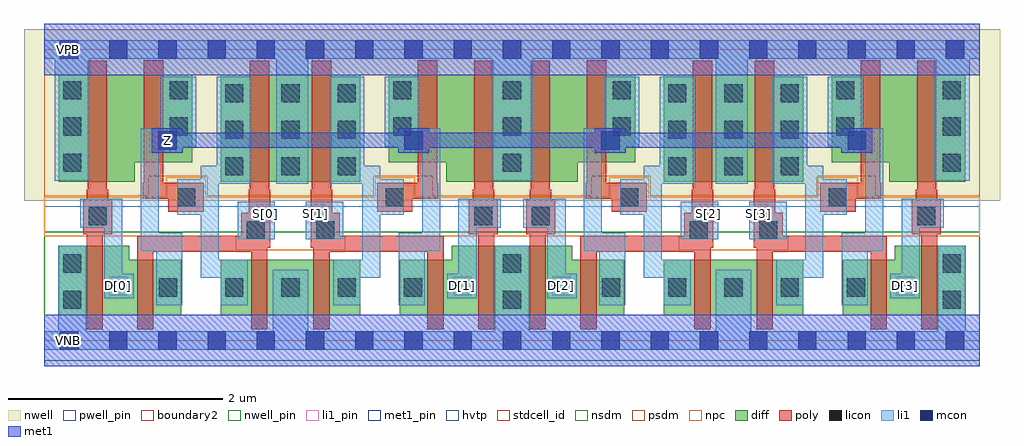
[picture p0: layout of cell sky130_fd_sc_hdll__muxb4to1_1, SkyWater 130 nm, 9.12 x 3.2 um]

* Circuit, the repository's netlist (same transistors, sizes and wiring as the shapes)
* Copyright 2020 The SkyWater PDK Authors
*
* Licensed under the Apache License, Version 2.0 (the "License");
* you may not use this file except in compliance with the License.
* You may obtain a copy of the License at
*
*     https://www.apache.org/licenses/LICENSE-2.0
*
* Unless required by applicable law or agreed to in writing, software
* distributed under the License is distributed on an "AS IS" BASIS,
* WITHOUT WARRANTIES OR CONDITIONS OF ANY KIND, either express or implied.
* See the License for the specific language governing permissions and
* limitations under the License.
*
* SPDX-License-Identifier: Apache-2.0

.SUBCKT sky130_fd_sc_hdll__muxb4to1_1 D[3] D[2] D[1] D[0] S[3] S[2] S[1] S[0] VGND VNB VPB VPWR Z
*.PININFO D[3]:I D[2]:I D[1]:I D[0]:I S[3]:I S[2]:I S[1]:I S[0]:I
*.PININFO VGND:I VNB:I VPB:I VPWR:I Z:O
MMNA00 Z S[0] net87 VNB sky130_fd_pr__nfet_01v8 m=1 w=0.52U l=0.15U mult=1 sa=0.265
+ sb=0.265 sd=0.28 area=0.063 perim=1.14
MMNA01 net87 D[0] VGND VNB sky130_fd_pr__nfet_01v8 m=1 w=0.65U l=0.15U mult=1 sa=0.265
+ sb=0.265 sd=0.28 area=0.063 perim=1.14
MMIN1 SB0 S[0] VGND VNB sky130_fd_pr__nfet_01v8 m=1 w=0.52U l=0.15U mult=1 sa=0.265
+ sb=0.265 sd=0.28 area=0.063 perim=1.14
MI30 Z S[2] net51 VNB sky130_fd_pr__nfet_01v8 m=1 w=0.52U l=0.15U mult=1 sa=0.265
+ sb=0.265 sd=0.28 area=0.063 perim=1.14
MI29 net51 D[2] VGND VNB sky130_fd_pr__nfet_01v8 m=1 w=0.65U l=0.15U mult=1 sa=0.265
+ sb=0.265 sd=0.28 area=0.063 perim=1.14
MI28 SB2 S[2] VGND VNB sky130_fd_pr__nfet_01v8 m=1 w=0.52U l=0.15U mult=1 sa=0.265
+ sb=0.265 sd=0.28 area=0.063 perim=1.14
MI27 SB3 S[3] VGND VNB sky130_fd_pr__nfet_01v8 m=1 w=0.52U l=0.15U mult=1 sa=0.265
+ sb=0.265 sd=0.28 area=0.063 perim=1.14
MI26 net63 D[3] VGND VNB sky130_fd_pr__nfet_01v8 m=1 w=0.65U l=0.15U mult=1 sa=0.265
+ sb=0.265 sd=0.28 area=0.063 perim=1.14
MI25 Z S[3] net63 VNB sky130_fd_pr__nfet_01v8 m=1 w=0.52U l=0.15U mult=1 sa=0.265
+ sb=0.265 sd=0.28 area=0.063 perim=1.14
MI13 Z S[1] net75 VNB sky130_fd_pr__nfet_01v8 m=1 w=0.52U l=0.15U mult=1 sa=0.265
+ sb=0.265 sd=0.28 area=0.063 perim=1.14
MI12 net75 D[1] VGND VNB sky130_fd_pr__nfet_01v8 m=1 w=0.65U l=0.15U mult=1 sa=0.265
+ sb=0.265 sd=0.28 area=0.063 perim=1.14
MI11 SB1 S[1] VGND VNB sky130_fd_pr__nfet_01v8 m=1 w=0.52U l=0.15U mult=1 sa=0.265
+ sb=0.265 sd=0.28 area=0.063 perim=1.14
MI35 net99 SB2 Z VPB sky130_fd_pr__pfet_01v8_hvt m=1 w=0.82U l=0.18U mult=1 sa=0.265
+ sb=0.265 sd=0.28 area=0.063 perim=1.14
MI34 SB2 S[2] VPWR VPB sky130_fd_pr__pfet_01v8_hvt m=1 w=1.0U l=0.18U mult=1 sa=0.265
+ sb=0.265 sd=0.28 area=0.063 perim=1.14
MMPA00 VPWR D[0] net135 VPB sky130_fd_pr__pfet_01v8_hvt m=1 w=1.0U l=0.18U mult=1
+ sa=0.265 sb=0.265 sd=0.28 area=0.063 perim=1.14
MMPA01 net135 SB0 Z VPB sky130_fd_pr__pfet_01v8_hvt m=1 w=0.82U l=0.18U mult=1
+ sa=0.265 sb=0.265 sd=0.28 area=0.063 perim=1.14
MI33 SB3 S[3] VPWR VPB sky130_fd_pr__pfet_01v8_hvt m=1 w=1.0U l=0.18U mult=1 sa=0.265
+ sb=0.265 sd=0.28 area=0.063 perim=1.14
MI32 net111 SB3 Z VPB sky130_fd_pr__pfet_01v8_hvt m=1 w=0.82U l=0.18U mult=1 sa=0.265
+ sb=0.265 sd=0.28 area=0.063 perim=1.14
MI31 VPWR D[3] net111 VPB sky130_fd_pr__pfet_01v8_hvt m=1 w=1.0U l=0.18U mult=1
+ sa=0.265 sb=0.265 sd=0.28 area=0.063 perim=1.14
MMIP1 SB0 S[0] VPWR VPB sky130_fd_pr__pfet_01v8_hvt m=1 w=1.0U l=0.18U mult=1 sa=0.265
+ sb=0.265 sd=0.28 area=0.063 perim=1.14
MI15 net123 SB1 Z VPB sky130_fd_pr__pfet_01v8_hvt m=1 w=0.82U l=0.18U mult=1 sa=0.265
+ sb=0.265 sd=0.28 area=0.063 perim=1.14
MI16 VPWR D[1] net123 VPB sky130_fd_pr__pfet_01v8_hvt m=1 w=1.0U l=0.18U mult=1
+ sa=0.265 sb=0.265 sd=0.28 area=0.063 perim=1.14
MI14 SB1 S[1] VPWR VPB sky130_fd_pr__pfet_01v8_hvt m=1 w=1.0U l=0.18U mult=1 sa=0.265
+ sb=0.265 sd=0.28 area=0.063 perim=1.14
MI36 VPWR D[2] net99 VPB sky130_fd_pr__pfet_01v8_hvt m=1 w=1.0U l=0.18U mult=1
+ sa=0.265 sb=0.265 sd=0.28 area=0.063 perim=1.14
.ENDS sky130_fd_sc_hdll__muxb4to1_1

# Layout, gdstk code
import gdstk
lib = gdstk.Library(unit=1e-6, precision=1e-09)
def R(c, l, rs):  # rectangles x0, y0, x1, y1
    for r in rs: c.add(gdstk.rectangle(r[:2], r[2:], *l))
def A(c, l, x, y, w, h, nx, ny, dx, dy):  # array of equal rectangles
    R(c, l, [(x+i*dx, y+j*dy, x+i*dx+w, y+j*dy+h) for i in range(nx) for j in range(ny)])
def P(c, l, *ps):  # polygons
    for p in ps: c.add(gdstk.Polygon(p, *l))
nwell_pin = (64, 16)
nwell = (64, 20)
diff = (65, 20)
poly = (66, 20)
licon = (66, 44)
li1_pin = (67, 16)
li1 = (67, 20)
mcon = (67, 44)
met1_pin = (68, 16)
met1 = (68, 20)
hvtp = (78, 44)
stdcell_id = (81, 4)
nsdm = (93, 44)
psdm = (94, 20)
npc = (95, 20)
pwell_pin = (122, 16)
boundary2 = (236, 0)

sky130_fd_sc_hdll__muxb4 = lib.new_cell('sky130_fd_sc_hdll__muxb4to1_1')
R(sky130_fd_sc_hdll__muxb4, nwell_pin, [(0.145,2.635,0.315,2.805)])
R(sky130_fd_sc_hdll__muxb4, nwell, [(-0.19,1.305,4.79,2.91), (3.95,1.305,8.93,2.91)])
R(sky130_fd_sc_hdll__muxb4, diff, [(1.65,0.235,2.425,0.755), (2.175,0.235,2.95,0.755), (5.79,0.235,6.565,0.755), (6.315,0.235,7.09,0.755), (1.65,1.485,2.425,2.485), (2.175,1.485,2.95,2.485), (5.79,1.485,6.565,2.485), (6.315,1.485,7.09,2.485)])
P(sky130_fd_sc_hdll__muxb4, diff, [(1.28,0.755),(0.795,0.755),(0.795,0.885),(0.135,0.885),(0.135,0.235),(1.28,0.235)],
  [(1.38,2.485),(0.135,2.485),(0.135,1.485),(0.845,1.485),(0.845,1.665),(1.38,1.665)],
  [(5.42,0.755),(4.935,0.755),(4.935,0.885),(4.275,0.885),(4.275,0.235),(5.42,0.235)],
  [(7.46,0.755),(7.945,0.755),(7.945,0.885),(8.605,0.885),(8.605,0.235),(7.46,0.235)],
  [(5.52,2.485),(4.275,2.485),(4.275,1.485),(4.985,1.485),(4.985,1.665),(5.52,1.665)],
  [(3.22,2.485),(4.465,2.485),(4.465,1.485),(3.755,1.485),(3.755,1.665),(3.22,1.665)],
  [(3.32,0.755),(3.805,0.755),(3.805,0.885),(4.465,0.885),(4.465,0.235),(3.32,0.235)],
  [(7.36,2.485),(8.605,2.485),(8.605,1.485),(7.895,1.485),(7.895,1.665),(7.36,1.665)])
R(sky130_fd_sc_hdll__muxb4, poly, [(0.395,0.105,0.545,0.995), (0.87,0.105,1.02,0.98), (1.935,0.105,2.085,0.995), (2.515,0.105,2.665,0.995), (3.58,0.105,3.73,0.98), (4.055,0.105,4.205,0.995), (4.535,0.105,4.685,0.995), (5.01,0.105,5.16,0.98), (6.075,0.105,6.225,0.995), (6.655,0.105,6.805,0.995), (7.72,0.105,7.87,0.98), (8.195,0.105,8.345,0.995), (0.87,0.83,2.085,0.98), (2.515,0.83,3.73,0.98), (5.01,0.83,6.225,0.98), (6.655,0.83,7.87,0.98), (1.84,0.865,2.11,1.195), (2.49,0.865,2.76,1.195), (5.98,0.865,6.25,1.195), (6.63,0.865,6.9,1.195), (0.365,0.995,0.635,1.325), (3.965,0.995,4.235,1.325), (4.505,0.995,4.775,1.325), (8.105,0.995,8.375,1.325), (1.16,1.205,1.49,1.475), (3.11,1.205,3.44,1.475), (5.3,1.205,5.63,1.475), (7.25,1.205,7.58,1.475), (0.92,1.325,1.305,1.475), (3.295,1.325,3.68,1.475), (5.06,1.325,5.445,1.475), (7.435,1.325,7.82,1.475)])
P(sky130_fd_sc_hdll__muxb4, poly, [(6.25,1.41),(6.24,1.41),(6.24,2.615),(6.06,2.615),(6.06,1.41),(6.05,1.41),(6.05,1.195),(6.25,1.195)],
  [(4.005,1.41),(4.015,1.41),(4.015,2.615),(4.195,2.615),(4.195,1.41),(4.205,1.41),(4.205,1.325),(4.005,1.325)],
  [(2.11,1.41),(2.1,1.41),(2.1,2.615),(1.92,2.615),(1.92,1.41),(1.91,1.41),(1.91,1.195),(2.11,1.195)],
  [(1.12,1.475),(1.11,1.475),(1.11,2.62),(0.93,2.62),(0.93,1.475),(0.92,1.475),(0.92,1.39),(1.12,1.39)],
  [(0.595,1.41),(0.585,1.41),(0.585,2.615),(0.405,2.615),(0.405,1.41),(0.395,1.41),(0.395,1.325),(0.595,1.325)],
  [(2.49,1.41),(2.5,1.41),(2.5,2.615),(2.68,2.615),(2.68,1.41),(2.69,1.41),(2.69,1.195),(2.49,1.195)],
  [(3.48,1.475),(3.49,1.475),(3.49,2.62),(3.67,2.62),(3.67,1.475),(3.68,1.475),(3.68,1.39),(3.48,1.39)],
  [(4.735,1.41),(4.725,1.41),(4.725,2.615),(4.545,2.615),(4.545,1.41),(4.535,1.41),(4.535,1.325),(4.735,1.325)],
  [(5.26,1.475),(5.25,1.475),(5.25,2.62),(5.07,2.62),(5.07,1.475),(5.06,1.475),(5.06,1.39),(5.26,1.39)],
  [(7.62,1.475),(7.63,1.475),(7.63,2.62),(7.81,2.62),(7.81,1.475),(7.82,1.475),(7.82,1.39),(7.62,1.39)],
  [(8.145,1.41),(8.155,1.41),(8.155,2.615),(8.335,2.615),(8.335,1.41),(8.345,1.41),(8.345,1.325),(8.145,1.325)],
  [(6.63,1.41),(6.64,1.41),(6.64,2.615),(6.82,2.615),(6.82,1.41),(6.83,1.41),(6.83,1.195),(6.63,1.195)])
A(sky130_fd_sc_hdll__muxb4, licon, 0.175, 0.295, 0.17, 0.17, 3, 2, 4.11, 0.34)
A(sky130_fd_sc_hdll__muxb4, licon, 1.69, 0.41, 0.17, 0.17, 3, 2, 0.525, 1.135)
A(sky130_fd_sc_hdll__muxb4, licon, 5.83, 0.41, 0.17, 0.17, 3, 2, 0.525, 1.135)
A(sky130_fd_sc_hdll__muxb4, licon, 0.175, 1.575, 0.17, 0.17, 3, 1, 4.11, 0)
A(sky130_fd_sc_hdll__muxb4, licon, 1.69, 1.885, 0.17, 0.17, 3, 2, 0.525, 0.34)
A(sky130_fd_sc_hdll__muxb4, licon, 5.83, 1.885, 0.17, 0.17, 3, 2, 0.525, 0.34)
A(sky130_fd_sc_hdll__muxb4, licon, 3.26, 1.915, 0.17, 0.17, 3, 2, 1.025, 0.34)
R(sky130_fd_sc_hdll__muxb4, licon, [(1.07,0.41,1.24,0.58), (3.36,0.41,3.53,0.58), (5.21,0.41,5.38,0.58), (7.5,0.41,7.67,0.58), (1.89,0.945,2.06,1.115), (2.54,0.945,2.71,1.115), (6.03,0.945,6.2,1.115), (6.68,0.945,6.85,1.115), (0.415,1.075,0.585,1.245), (4.015,1.075,4.185,1.245), (4.555,1.075,4.725,1.245), (8.155,1.075,8.325,1.245), (1.24,1.255,1.41,1.425), (3.19,1.255,3.36,1.425), (5.38,1.255,5.55,1.425), (7.33,1.255,7.5,1.425), (0.175,1.915,0.345,2.085), (1.17,1.915,1.34,2.085), (7.4,1.915,7.57,2.085), (8.395,1.915,8.565,2.085), (0.175,2.255,0.345,2.425), (1.17,2.255,1.34,2.425), (7.4,2.255,7.57,2.425), (8.395,2.255,8.565,2.425)])
R(sky130_fd_sc_hdll__muxb4, li1_pin, [(0.605,0.425,0.775,0.595), (3.825,0.425,3.995,0.595), (4.745,0.425,4.915,0.595), (7.965,0.425,8.135,0.595), (1.985,1.105,2.155,1.275), (2.445,1.105,2.615,1.275), (6.125,1.105,6.295,1.275), (6.585,1.105,6.755,1.275)])
R(sky130_fd_sc_hdll__muxb4, li1, [(0,-0.085,4.6,0.085), (4.14,-0.085,8.74,0.085), (0.13,0.085,0.39,0.885), (2.135,0.085,2.465,0.66), (4.21,0.085,4.47,0.885), (4.27,0.085,4.53,0.885), (6.275,0.085,6.605,0.66), (8.35,0.085,8.61,0.885), (1.045,0.33,1.29,0.865), (1.65,0.33,1.9,0.755), (2.7,0.33,2.95,0.755), (3.31,0.33,3.555,0.865), (5.185,0.33,5.43,0.865), (5.79,0.33,6.04,0.755), (6.84,0.33,7.09,0.755), (7.45,0.33,7.695,0.865), (0.9,0.835,1.29,1.005), (0.9,0.835,1.07,1.805), (3.31,0.835,3.7,1.005), (3.53,0.835,3.7,1.805), (5.04,0.835,5.43,1.005), (5.04,0.835,5.21,1.805), (7.45,0.835,7.84,1.005), (7.67,0.835,7.84,1.805), (1.805,0.945,2.155,1.295), (2.445,0.945,2.795,1.295), (5.945,0.945,6.295,1.295), (6.585,0.945,6.935,1.295), (0.335,1.055,0.73,1.325), (3.87,1.055,4.265,1.325), (4.475,1.055,4.87,1.325), (8.01,1.055,8.405,1.325), (1.24,1.175,1.46,1.505), (3.14,1.175,3.36,1.505), (5.38,1.175,5.6,1.505), (7.28,1.175,7.5,1.505), (1.61,1.465,1.94,2.465), (2.165,1.465,2.465,2.635), (2.66,1.465,2.99,2.465), (5.75,1.465,6.08,2.465), (6.275,1.465,6.575,2.635), (6.8,1.465,7.13,2.465), (0.095,1.495,0.425,2.635), (4.175,1.495,4.505,2.635), (4.235,1.495,4.565,2.635), (8.315,1.495,8.645,2.635), (1.09,1.805,1.42,2.465), (3.18,1.805,3.51,2.465), (3.205,1.805,3.7,1.975), (5.04,1.805,5.535,1.975), (5.23,1.805,5.56,2.465), (7.32,1.805,7.65,2.465), (7.345,1.805,7.84,1.975), (0,2.635,4.6,2.805), (4.14,2.635,8.74,2.805)])
P(sky130_fd_sc_hdll__muxb4, li1, [(3.765,0.625),(3.87,0.625),(3.87,1.325),(4.04,1.325),(4.04,0.395),(3.765,0.395)],
  [(2.7,0.755),(2.97,0.755),(2.97,1.465),(2.66,1.465),(2.66,1.635),(3.14,1.635),(3.14,0.585),(2.7,0.585)],
  [(1.9,0.755),(1.63,0.755),(1.63,1.465),(1.94,1.465),(1.94,1.635),(1.46,1.635),(1.46,0.585),(1.9,0.585)],
  [(1.42,1.985),(0.9,1.985),(0.9,1.755),(1.295,1.755),(1.295,1.805),(1.42,1.805)],
  [(0.835,0.625),(0.73,0.625),(0.73,1.325),(0.56,1.325),(0.56,0.395),(0.835,0.395)],
  [(6.04,0.755),(5.77,0.755),(5.77,1.465),(6.08,1.465),(6.08,1.635),(5.6,1.635),(5.6,0.585),(6.04,0.585)],
  [(4.975,0.625),(4.87,0.625),(4.87,1.325),(4.7,1.325),(4.7,0.395),(4.975,0.395)],
  [(7.905,0.625),(8.01,0.625),(8.01,1.325),(8.18,1.325),(8.18,0.395),(7.905,0.395)],
  [(6.84,0.755),(7.11,0.755),(7.11,1.465),(6.8,1.465),(6.8,1.635),(7.28,1.635),(7.28,0.585),(6.84,0.585)],
  [(3.18,1.985),(3.7,1.985),(3.7,1.755),(3.305,1.755),(3.305,1.805),(3.18,1.805)],
  [(5.56,1.985),(5.04,1.985),(5.04,1.755),(5.435,1.755),(5.435,1.805),(5.56,1.805)],
  [(7.32,1.985),(7.84,1.985),(7.84,1.755),(7.445,1.755),(7.445,1.805),(7.32,1.805)])
A(sky130_fd_sc_hdll__muxb4, mcon, 0.145, -0.085, 0.17, 0.17, 19, 1, 0.46, 0)
A(sky130_fd_sc_hdll__muxb4, mcon, 0.145, 2.635, 0.17, 0.17, 10, 1, 0.46, 0)
A(sky130_fd_sc_hdll__muxb4, mcon, 4.285, 2.635, 0.17, 0.17, 10, 1, 0.46, 0)
R(sky130_fd_sc_hdll__muxb4, mcon, [(1.065,1.785,1.235,1.955), (3.365,1.785,3.535,1.955), (5.205,1.785,5.375,1.955), (7.505,1.785,7.675,1.955)])
R(sky130_fd_sc_hdll__muxb4, met1_pin, [(0.145,-0.085,0.315,0.085), (1.065,1.785,1.235,1.955), (0.145,2.635,0.315,2.805)])
R(sky130_fd_sc_hdll__muxb4, met1, [(0,-0.24,4.6,0.24), (4.14,-0.24,8.74,0.24), (1.005,1.755,1.295,1.985), (3.305,1.755,3.595,1.985), (5.145,1.755,5.435,1.985), (7.445,1.755,7.735,1.985), (1.005,1.8,7.735,1.94), (0,2.48,4.6,2.96), (4.14,2.48,8.74,2.96)])
R(sky130_fd_sc_hdll__muxb4, hvtp, [(0,1.25,4.6,2.72), (4.14,1.25,8.74,2.72)])
R(sky130_fd_sc_hdll__muxb4, stdcell_id, [(0,0,8.74,2.72)])
R(sky130_fd_sc_hdll__muxb4, nsdm, [(0,-0.19,4.6,1.015), (4.14,-0.19,8.74,1.015)])
P(sky130_fd_sc_hdll__muxb4, psdm, [(4.6,2.91),(0,2.91),(0,1.355),(0.975,1.355),(0.975,1.535),(1.52,1.535),(1.52,1.355),(3.08,1.355),(3.08,1.535),(3.625,1.535),(3.625,1.355),(4.6,1.355)],
  [(4.14,2.91),(8.74,2.91),(8.74,1.355),(7.765,1.355),(7.765,1.535),(7.22,1.535),(7.22,1.355),(5.66,1.355),(5.66,1.535),(5.115,1.535),(5.115,1.355),(4.14,1.355)])
P(sky130_fd_sc_hdll__muxb4, npc, [(4.6,1.345),(3.46,1.345),(3.46,1.525),(3.09,1.525),(3.09,1.345),(1.51,1.345),(1.51,1.525),(1.14,1.525),(1.14,1.345),(0,1.345),(0,0.975),(1.79,0.975),(1.79,0.845),(2.81,0.845),(2.81,0.975),(4.6,0.975)],
  [(8.74,1.345),(7.6,1.345),(7.6,1.525),(7.23,1.525),(7.23,1.345),(5.65,1.345),(5.65,1.525),(5.28,1.525),(5.28,1.345),(4.14,1.345),(4.14,0.975),(5.93,0.975),(5.93,0.845),(6.95,0.845),(6.95,0.975),(8.74,0.975)])
R(sky130_fd_sc_hdll__muxb4, pwell_pin, [(0.145,-0.085,0.315,0.085)])
R(sky130_fd_sc_hdll__muxb4, boundary2, [(0,0,8.74,2.72)])
sky130_fd_sc_hdll__muxb4.add(gdstk.Label('S[0]', (2.07,1.19), layer=67, texttype=5))
sky130_fd_sc_hdll__muxb4.add(gdstk.Label('D[0]', (0.69,0.51), layer=67, texttype=5))
sky130_fd_sc_hdll__muxb4.add(gdstk.Label('D[1]', (3.91,0.51), layer=67, texttype=5))
sky130_fd_sc_hdll__muxb4.add(gdstk.Label('S[1]', (2.53,1.19), layer=67, texttype=5))
sky130_fd_sc_hdll__muxb4.add(gdstk.Label('S[2]', (6.21,1.19), layer=67, texttype=5))
sky130_fd_sc_hdll__muxb4.add(gdstk.Label('D[2]', (4.83,0.51), layer=67, texttype=5))
sky130_fd_sc_hdll__muxb4.add(gdstk.Label('D[3]', (8.05,0.51), layer=67, texttype=5))
sky130_fd_sc_hdll__muxb4.add(gdstk.Label('S[3]', (6.67,1.19), layer=67, texttype=5))
sky130_fd_sc_hdll__muxb4.add(gdstk.Label('VPB', (0.23,2.72), layer=64, texttype=5))
sky130_fd_sc_hdll__muxb4.add(gdstk.Label('VNB', (0.23,0), layer=64, texttype=59))
sky130_fd_sc_hdll__muxb4.add(gdstk.Label('VGND', (0.23,0), layer=68, texttype=5))
sky130_fd_sc_hdll__muxb4.add(gdstk.Label('VPWR', (0.23,2.72), layer=68, texttype=5))
sky130_fd_sc_hdll__muxb4.add(gdstk.Label('Z', (1.15,1.87), layer=68, texttype=5))
sky130_fd_sc_hdll__muxb4.add(gdstk.Label('muxb4to1_1', (0,0), layer=83, texttype=44))

lib.write_gds('sky130_fd_sc_hdll__muxb4to1_1.gds')
